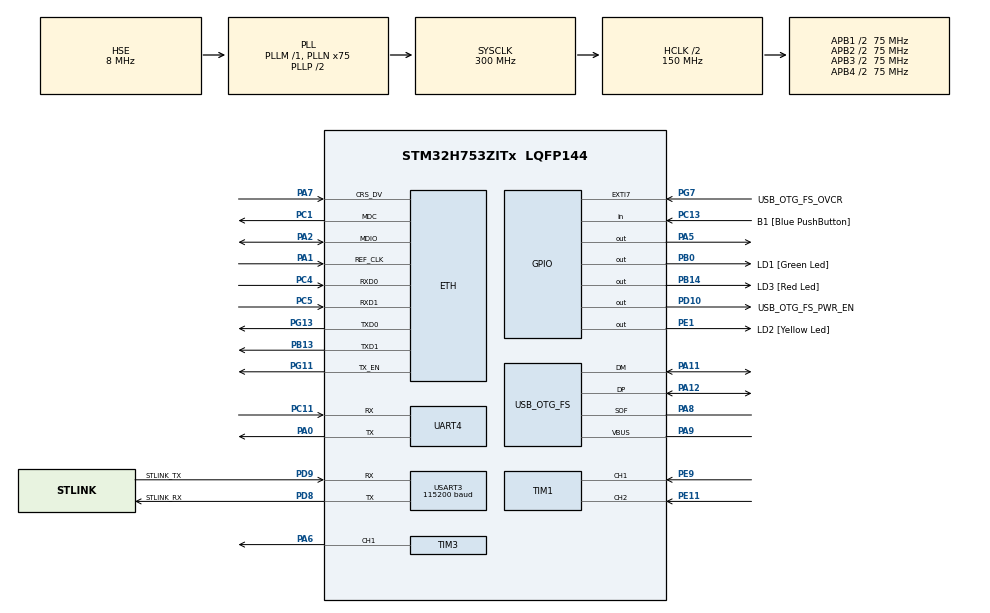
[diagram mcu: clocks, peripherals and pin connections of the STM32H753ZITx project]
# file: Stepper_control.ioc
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CORTEX_M7.CPU_DCache=Disabled
CORTEX_M7.CPU_ICache=Disabled
CORTEX_M7.MPU_Control=__NULL
ETH.ETH_RX_DESC_CNT=4
ETH.ETH_TX_DESC_CNT=4
ETH.MACAddr=00\:80\:E1\:00\:00\:00
ETH.MediaInterface=HAL_ETH_RMII_MODE
ETH.RxBuffAddress=0x30040200
ETH.RxBuffLen=1524
ETH.RxDescAddress=0x30040000
ETH.TxDescAddress=0x30040060
FREERTOS.Tasks01=defaultTask,24,128,StartDefaultTask,Default,NULL,Dynamic,NULL,NULL;motor_control,16,128,StartTask02,Default,NULL,Dynamic,NULL,NULL
FREERTOS.configUSE_NEWLIB_REENTRANT=1
Mcu.Family=STM32H7
Mcu.Name=STM32H753ZITx
Mcu.Package=LQFP144
NVIC.PriorityGroup=NVIC_PRIORITYGROUP_4
NVIC.TIM1_BRK_IRQn=true\:5\:0\:false\:false\:true\:true\:true\:true\:true
NVIC.TIM1_CC_IRQn=true\:5\:0\:false\:false\:true\:true\:true\:true\:true
NVIC.TIM1_TRG_COM_IRQn=true\:5\:0\:false\:false\:true\:true\:true\:true\:true
NVIC.TIM1_UP_IRQn=true\:5\:0\:false\:false\:true\:true\:true\:true\:true
NVIC.TIM2_IRQn=true\:15\:0\:false\:false\:true\:false\:false\:true\:true
NVIC.TimeBase=TIM2_IRQn
NVIC.TimeBaseIP=TIM2
PA0.Mode=Asynchronous
PA0.Signal=UART4_TX
PA1.Mode=RMII
PA1.Signal=ETH_REF_CLK
PA11.Mode=Device_Only
PA11.Signal=USB_OTG_FS_DM
PA12.Mode=Device_Only
PA12.Signal=USB_OTG_FS_DP
PA2.Mode=RMII
PA2.Signal=ETH_MDIO
PA5.Signal=GPIO_Output
PA6.Signal=S_TIM3_CH1
PA7.Mode=RMII
PA7.Signal=ETH_CRS_DV
PA8.Mode=Activate_SOF_FS
PA8.Signal=USB_OTG_FS_SOF
PA9.Mode=Activate_VBUS
PA9.Signal=USB_OTG_FS_VBUS
PB0.GPIO_Label=LD1 [Green Led]
PB0.Signal=GPIO_Output
PB13.Mode=RMII
PB13.Signal=ETH_TXD1
PB14.GPIO_Label=LD3 [Red Led]
PB14.Signal=GPIO_Output
PC1.Mode=RMII
PC1.Signal=ETH_MDC
PC11.Mode=Asynchronous
PC11.Signal=UART4_RX
PC13.GPIO_Label=B1 [Blue PushButton]
PC13.Signal=GPIO_Input
PC14-OSC32_IN\ (OSC32_IN).Signal=RCC_OSC32_IN
PC15-OSC32_OUT\ (OSC32_OUT).Signal=RCC_OSC32_OUT
PC4.Mode=RMII
PC4.Signal=ETH_RXD0
PC5.Mode=RMII
PC5.Signal=ETH_RXD1
PD10.GPIO_Label=USB_OTG_FS_PWR_EN
PD10.Signal=GPIO_Output
PD8.GPIO_Label=STLINK_RX
PD8.Mode=Asynchronous
PD8.Signal=USART3_TX
PD9.GPIO_Label=STLINK_TX
PD9.Mode=Asynchronous
PD9.Signal=USART3_RX
PE1.GPIO_Label=LD2 [Yellow Led]
PE1.Signal=GPIO_Output
PE11.GPIO_PuPd=GPIO_PULLUP
PE11.Signal=S_TIM1_CH2
PE9.GPIO_PuPd=GPIO_PULLUP
PE9.Signal=S_TIM1_CH1
PG11.Mode=RMII
PG11.Signal=ETH_TX_EN
PG13.Mode=RMII
PG13.Signal=ETH_TXD0
PG7.GPIO_Label=USB_OTG_FS_OVCR
PG7.Signal=GPXTI7
PH0-OSC_IN\ (PH0).Mode=HSE-External-Oscillator
PH0-OSC_IN\ (PH0).Signal=RCC_OSC_IN
PH1-OSC_OUT\ (PH1).Mode=HSE-External-Oscillator
PH1-OSC_OUT\ (PH1).Signal=RCC_OSC_OUT
ProjectManager.HeapSize=0x200
ProjectManager.StackSize=0x400
ProjectManager.TargetToolchain=STM32CubeIDE
RCC.ADCFreq_Value=16125000
RCC.APB1Freq_Value=75000000
RCC.APB2Freq_Value=75000000
RCC.APB3Freq_Value=75000000
RCC.APB4Freq_Value=75000000
RCC.CortexFreq_Value=300000000
RCC.D1PPRE=RCC_APB3_DIV2
RCC.D2PPRE1=RCC_APB1_DIV2
RCC.D2PPRE2=RCC_APB2_DIV2
RCC.D3PPRE=RCC_APB4_DIV2
RCC.DIVM1=1
RCC.DIVN1=75
RCC.DIVQ1=10
RCC.HCLKFreq_Value=150000000
RCC.HPRE=RCC_HCLK_DIV2
RCC.HSE_VALUE=8000000
RCC.PLL2FRACN=0
RCC.PLL3FRACN=0
RCC.PLLFRACN=0
RCC.SYSCLKFreq_VALUE=300000000
RCC.SYSCLKSource=RCC_SYSCLKSOURCE_PLLCLK
RCC.USBFreq_Value=60000000
SH.S_TIM1_CH1.0=TIM1_CH1,Encoder_Interface
SH.S_TIM1_CH2.0=TIM1_CH2,Encoder_Interface
SH.S_TIM3_CH1.0=TIM3_CH1,PWM Generation1 CH1
TIM1.AutoReloadPreload=TIM_AUTORELOAD_PRELOAD_ENABLE
TIM1.EncoderMode=TIM_ENCODERMODE_TI12
TIM1.IC1Filter=5
TIM1.IC1Prescaler=TIM_ICPSC_DIV1
TIM1.IC2Filter=5
TIM1.IC2Prescaler=TIM_ICPSC_DIV1
TIM3.AutoReloadPreload=TIM_AUTORELOAD_PRELOAD_ENABLE
TIM3.Channel-PWM\ Generation1\ CH1=TIM_CHANNEL_1
TIM3.ClockDivision=TIM_CLOCKDIVISION_DIV1
TIM3.Period=65535-1
TIM3.Prescaler=50-1
TIM3.Pulse-PWM\ Generation1\ CH1=20
USART3.AutoBaudRateEnableParam=UART_ADVFEATURE_AUTOBAUDRATE_DISABLE
USART3.BaudRate=115200
USART3.ClockPrescaler=PRESCALER_DIV1
USART3.DMADisableonRxErrorParam=ADVFEATURE_DMA_ENABLEONRXERROR
USART3.DataInvertParam=ADVFEATURE_DATAINV_DISABLE
USART3.FIFOMode=FIFOMODE_DISABLE
USART3.MSBFirstParam=ADVFEATURE_MSBFIRST_DISABLE
USART3.Mode=MODE_TX_RX
USART3.OneBitSampling=UART_ONE_BIT_SAMPLE_DISABLE
USART3.OverSampling=UART_OVERSAMPLING_16
USART3.OverrunDisableParam=ADVFEATURE_OVERRUN_ENABLE
USART3.Parity=PARITY_NONE
USART3.RXFIFOThreshold=RXFIFO_THRESHOLD_1EIGHTHFULL
USART3.RxPinLevelInvertParam=ADVFEATURE_RXINV_DISABLE
USART3.StopBits=STOPBITS_1
USART3.SwapParam=ADVFEATURE_SWAP_DISABLE
USART3.TXFIFOThreshold=TXFIFO_THRESHOLD_1EIGHTHFULL
USART3.TxPinLevelInvertParam=ADVFEATURE_TXINV_DISABLE
USART3.VirtualMode-Asynchronous=VM_ASYNC
USART3.WordLength=WORDLENGTH_8B
USB_OTG_FS.Sof_enable=ENABLE
USB_OTG_FS.VirtualMode=Device_Only
USB_OTG_FS.battery_charging_enable=ENABLE
USB_OTG_FS.low_power_enable=DISABLE
USB_OTG_FS.lpm_enable=DISABLE
USB_OTG_FS.use_dedicated_ep1=DISABLE
USB_OTG_FS.vbus_sensing_enable=ENABLE
VP_FREERTOS_VS_CMSIS_V2.Mode=CMSIS_V2
VP_MEMORYMAP_VS_MEMORYMAP.Mode=CurAppReg
VP_SYS_VS_tim2.Mode=TIM2
VP_TIM3_VS_ClockSourceINT.Mode=Internal
board=NUCLEO-H753ZI

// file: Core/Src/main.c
/* USER CODE BEGIN Header */
/**
 ******************************************************************************
 * @file           : main.c
 * @brief          : Main program body
 ******************************************************************************
 * @attention
 *
 * Copyright (c) 2024 STMicroelectronics.
 * All rights reserved.
 *
 * This software is licensed under terms that can be found in the LICENSE file
 * in the root directory of this software component.
 * If no LICENSE file comes with this software, it is provided AS-IS.
 *
 ******************************************************************************
 */
/* USER CODE END Header */
#include "main.h"
#include "string.h"
#include "cmsis_os.h"

/* USER CODE BEGIN Includes */
#include "motor_control.h"
#include "encoder_control.h"
/* USER CODE END Includes */

#if defined ( __ICCARM__ ) /*!< IAR Compiler */
#pragma location=0x30040000
ETH_DMADescTypeDef  DMARxDscrTab[ETH_RX_DESC_CNT]; /* Ethernet Rx DMA Descriptors */
#pragma location=0x30040060
ETH_DMADescTypeDef  DMATxDscrTab[ETH_TX_DESC_CNT]; /* Ethernet Tx DMA Descriptors */

#elif defined ( __CC_ARM )  /* MDK ARM Compiler */

__attribute__((at(0x30040000))) ETH_DMADescTypeDef  DMARxDscrTab[ETH_RX_DESC_CNT]; /* Ethernet Rx DMA Descriptors */
__attribute__((at(0x30040060))) ETH_DMADescTypeDef  DMATxDscrTab[ETH_TX_DESC_CNT]; /* Ethernet Tx DMA Descriptors */

#elif defined ( __GNUC__ ) /* GNU Compiler */

ETH_DMADescTypeDef DMARxDscrTab[ETH_RX_DESC_CNT] __attribute__((section(".RxDescripSection"))); /* Ethernet Rx DMA Descriptors */
ETH_DMADescTypeDef DMATxDscrTab[ETH_TX_DESC_CNT] __attribute__((section(".TxDescripSection")));   /* Ethernet Tx DMA Descriptors */
#endif

ETH_TxPacketConfig TxConfig;

ETH_HandleTypeDef heth;

TIM_HandleTypeDef htim1;
TIM_HandleTypeDef htim3;

UART_HandleTypeDef huart4;
UART_HandleTypeDef huart3;

PCD_HandleTypeDef hpcd_USB_OTG_FS;

/* Definitions for defaultTask */
osThreadId_t defaultTaskHandle;
const osThreadAttr_t defaultTask_attributes = {
  .name = "defaultTask",
  .stack_size = 128 * 4,
  .priority = (osPriority_t) osPriorityNormal,
};
/* Definitions for motor_control */
osThreadId_t motor_controlHandle;
const osThreadAttr_t motor_control_attributes = {
  .name = "motor_control",
  .stack_size = 128 * 4,
  .priority = (osPriority_t) osPriorityBelowNormal,
};

void SystemClock_Config(void);
static void MX_GPIO_Init(void);
static void MX_ETH_Init(void);
static void MX_USART3_UART_Init(void);
static void MX_USB_OTG_FS_PCD_Init(void);
static void MX_TIM3_Init(void);
static void MX_TIM1_Init(void);
static void MX_UART4_Init(void);
void StartDefaultTask(void *argument);
void StartTask02(void *argument);

/* USER CODE BEGIN 0 */
encoder_instance enc_instance;
int32_t encoder_velocity = 0;
int32_t encoder_position = 0;
int32_t timer_counter = 0;
float rpm = 0;
//Pentru frecventa am setat limite normale in functionearea fara microstepping
//Daca se foloseste microstepping se atinge si o frecventa mai mare de 1400 Hz doar ca frecventele vor trebui modificate !

/* USER CODE END 0 */

int main(void)
{

  /* MCU Configuration--------------------------------------------------------*/

  /* Reset of all peripherals, Initializes the Flash interface and the Systick. */
  HAL_Init();

  /* Configure the system clock */
  SystemClock_Config();

  /* Initialize all configured peripherals */
  MX_GPIO_Init();
  MX_ETH_Init();
  MX_USART3_UART_Init();
  MX_USB_OTG_FS_PCD_Init();
  MX_TIM3_Init();
  MX_TIM1_Init();
  MX_UART4_Init();
  /* USER CODE BEGIN 2 */
  //HAL_TIM_PWM_Start(&htim3, TIM_CHANNEL_1);
  HAL_TIM_Encoder_Start(&htim1, TIM_CHANNEL_ALL);

  /* USER CODE END 2 */

  /* Init scheduler */
  osKernelInitialize();

  /* Create the thread(s) */
  /* creation of defaultTask */
  defaultTaskHandle = osThreadNew(StartDefaultTask, NULL, &defaultTask_attributes);

  /* creation of motor_control */
  motor_controlHandle = osThreadNew(StartTask02, NULL, &motor_control_attributes);

  /* Start scheduler */
  osKernelStart();

  /* We should never get here as control is now taken by the scheduler */

  /* Infinite loop */
	while (1) {

	}
}

void SystemClock_Config(void)
{
  RCC_OscInitTypeDef RCC_OscInitStruct = {0};
  RCC_ClkInitTypeDef RCC_ClkInitStruct = {0};

  /** Supply configuration update enable
  */
  HAL_PWREx_ConfigSupply(PWR_LDO_SUPPLY);

  /** Configure the main internal regulator output voltage
  */
  __HAL_PWR_VOLTAGESCALING_CONFIG(PWR_REGULATOR_VOLTAGE_SCALE2);

  while(!__HAL_PWR_GET_FLAG(PWR_FLAG_VOSRDY)) {}

  /** Initializes the RCC Oscillators according to the specified parameters
  * in the RCC_OscInitTypeDef structure.
  */
  RCC_OscInitStruct.OscillatorType = RCC_OSCILLATORTYPE_HSE;
  RCC_OscInitStruct.HSEState = RCC_HSE_ON;
  RCC_OscInitStruct.PLL.PLLState = RCC_PLL_ON;
  RCC_OscInitStruct.PLL.PLLSource = RCC_PLLSOURCE_HSE;
  RCC_OscInitStruct.PLL.PLLM = 1;
  RCC_OscInitStruct.PLL.PLLN = 75;
  RCC_OscInitStruct.PLL.PLLP = 2;
  RCC_OscInitStruct.PLL.PLLQ = 10;
  RCC_OscInitStruct.PLL.PLLR = 2;
  RCC_OscInitStruct.PLL.PLLRGE = RCC_PLL1VCIRANGE_3;
  RCC_OscInitStruct.PLL.PLLVCOSEL = RCC_PLL1VCOWIDE;
  RCC_OscInitStruct.PLL.PLLFRACN = 0;
  if (HAL_RCC_OscConfig(&RCC_OscInitStruct) != HAL_OK)
  {
    Error_Handler();
  }

  /** Initializes the CPU, AHB and APB buses clocks
  */
  RCC_ClkInitStruct.ClockType = RCC_CLOCKTYPE_HCLK|RCC_CLOCKTYPE_SYSCLK
                              |RCC_CLOCKTYPE_PCLK1|RCC_CLOCKTYPE_PCLK2
                              |RCC_CLOCKTYPE_D3PCLK1|RCC_CLOCKTYPE_D1PCLK1;
  RCC_ClkInitStruct.SYSCLKSource = RCC_SYSCLKSOURCE_PLLCLK;
  RCC_ClkInitStruct.SYSCLKDivider = RCC_SYSCLK_DIV1;
  RCC_ClkInitStruct.AHBCLKDivider = RCC_HCLK_DIV2;
  RCC_ClkInitStruct.APB3CLKDivider = RCC_APB3_DIV2;
  RCC_ClkInitStruct.APB1CLKDivider = RCC_APB1_DIV2;
  RCC_ClkInitStruct.APB2CLKDivider = RCC_APB2_DIV2;
  RCC_ClkInitStruct.APB4CLKDivider = RCC_APB4_DIV2;

  if (HAL_RCC_ClockConfig(&RCC_ClkInitStruct, FLASH_LATENCY_2) != HAL_OK)
  {
    Error_Handler();
  }
}

static void MX_ETH_Init(void)
{

   static uint8_t MACAddr[6];

  heth.Instance = ETH;
  MACAddr[0] = 0x00;
  MACAddr[1] = 0x80;
  MACAddr[2] = 0xE1;
  MACAddr[3] = 0x00;
  MACAddr[4] = 0x00;
  MACAddr[5] = 0x00;
  heth.Init.MACAddr = &MACAddr[0];
  heth.Init.MediaInterface = HAL_ETH_RMII_MODE;
  heth.Init.TxDesc = DMATxDscrTab;
  heth.Init.RxDesc = DMARxDscrTab;
  heth.Init.RxBuffLen = 1524;

  if (HAL_ETH_Init(&heth) != HAL_OK)
  {
    Error_Handler();
  }

  memset(&TxConfig, 0 , sizeof(ETH_TxPacketConfig));
  TxConfig.Attributes = ETH_TX_PACKETS_FEATURES_CSUM | ETH_TX_PACKETS_FEATURES_CRCPAD;
  TxConfig.ChecksumCtrl = ETH_CHECKSUM_IPHDR_PAYLOAD_INSERT_PHDR_CALC;
  TxConfig.CRCPadCtrl = ETH_CRC_PAD_INSERT;

}

static void MX_TIM1_Init(void)
{

  TIM_Encoder_InitTypeDef sConfig = {0};
  TIM_MasterConfigTypeDef sMasterConfig = {0};

  htim1.Instance = TIM1;
  htim1.Init.Prescaler = 0;
  htim1.Init.CounterMode = TIM_COUNTERMODE_UP;
  htim1.Init.Period = 65535;
  htim1.Init.ClockDivision = TIM_CLOCKDIVISION_DIV1;
  htim1.Init.RepetitionCounter = 0;
  htim1.Init.AutoReloadPreload = TIM_AUTORELOAD_PRELOAD_ENABLE;
  sConfig.EncoderMode = TIM_ENCODERMODE_TI12;
  sConfig.IC1Polarity = TIM_ICPOLARITY_RISING;
  sConfig.IC1Selection = TIM_ICSELECTION_DIRECTTI;
  sConfig.IC1Prescaler = TIM_ICPSC_DIV1;
  sConfig.IC1Filter = 5;
  sConfig.IC2Polarity = TIM_ICPOLARITY_RISING;
  sConfig.IC2Selection = TIM_ICSELECTION_DIRECTTI;
  sConfig.IC2Prescaler = TIM_ICPSC_DIV1;
  sConfig.IC2Filter = 5;
  if (HAL_TIM_Encoder_Init(&htim1, &sConfig) != HAL_OK)
  {
    Error_Handler();
  }
  sMasterConfig.MasterOutputTrigger = TIM_TRGO_RESET;
  sMasterConfig.MasterOutputTrigger2 = TIM_TRGO2_RESET;
  sMasterConfig.MasterSlaveMode = TIM_MASTERSLAVEMODE_DISABLE;
  if (HAL_TIMEx_MasterConfigSynchronization(&htim1, &sMasterConfig) != HAL_OK)
  {
    Error_Handler();
  }

}

static void MX_TIM3_Init(void)
{

  TIM_ClockConfigTypeDef sClockSourceConfig = {0};
  TIM_MasterConfigTypeDef sMasterConfig = {0};
  TIM_OC_InitTypeDef sConfigOC = {0};

  htim3.Instance = TIM3;
  htim3.Init.Prescaler = 50-1;
  htim3.Init.CounterMode = TIM_COUNTERMODE_UP;
  htim3.Init.Period = 65535-1;
  htim3.Init.ClockDivision = TIM_CLOCKDIVISION_DIV1;
  htim3.Init.AutoReloadPreload = TIM_AUTORELOAD_PRELOAD_ENABLE;
  if (HAL_TIM_Base_Init(&htim3) != HAL_OK)
  {
    Error_Handler();
  }
  sClockSourceConfig.ClockSource = TIM_CLOCKSOURCE_INTERNAL;
  if (HAL_TIM_ConfigClockSource(&htim3, &sClockSourceConfig) != HAL_OK)
  {
    Error_Handler();
  }
  if (HAL_TIM_PWM_Init(&htim3) != HAL_OK)
  {
    Error_Handler();
  }
  sMasterConfig.MasterOutputTrigger = TIM_TRGO_RESET;
  sMasterConfig.MasterSlaveMode = TIM_MASTERSLAVEMODE_DISABLE;
  if (HAL_TIMEx_MasterConfigSynchronization(&htim3, &sMasterConfig) != HAL_OK)
  {
    Error_Handler();
  }
  sConfigOC.OCMode = TIM_OCMODE_PWM1;
  sConfigOC.Pulse = 20;
  sConfigOC.OCPolarity = TIM_OCPOLARITY_HIGH;
  sConfigOC.OCFastMode = TIM_OCFAST_DISABLE;
  if (HAL_TIM_PWM_ConfigChannel(&htim3, &sConfigOC, TIM_CHANNEL_1) != HAL_OK)
  {
    Error_Handler();
  }
  HAL_TIM_MspPostInit(&htim3);

}

static void MX_UART4_Init(void)
{

  huart4.Instance = UART4;
  huart4.Init.BaudRate = 115200;
  huart4.Init.WordLength = UART_WORDLENGTH_8B;
  huart4.Init.StopBits = UART_STOPBITS_1;
  huart4.Init.Parity = UART_PARITY_NONE;
  huart4.Init.Mode = UART_MODE_TX_RX;
  huart4.Init.HwFlowCtl = UART_HWCONTROL_NONE;
  huart4.Init.OverSampling = UART_OVERSAMPLING_16;
  huart4.Init.OneBitSampling = UART_ONE_BIT_SAMPLE_DISABLE;
  huart4.Init.ClockPrescaler = UART_PRESCALER_DIV1;
  huart4.AdvancedInit.AdvFeatureInit = UART_ADVFEATURE_NO_INIT;
  if (HAL_UART_Init(&huart4) != HAL_OK)
  {
    Error_Handler();
  }
  if (HAL_UARTEx_SetTxFifoThreshold(&huart4, UART_TXFIFO_THRESHOLD_1_8) != HAL_OK)
  {
    Error_Handler();
  }
  if (HAL_UARTEx_SetRxFifoThreshold(&huart4, UART_RXFIFO_THRESHOLD_1_8) != HAL_OK)
  {
    Error_Handler();
  }
  if (HAL_UARTEx_DisableFifoMode(&huart4) != HAL_OK)
  {
    Error_Handler();
  }

}

static void MX_USART3_UART_Init(void)
{

  huart3.Instance = USART3;
  huart3.Init.BaudRate = 115200;
  huart3.Init.WordLength = UART_WORDLENGTH_8B;
  huart3.Init.StopBits = UART_STOPBITS_1;
  huart3.Init.Parity = UART_PARITY_NONE;
  huart3.Init.Mode = UART_MODE_TX_RX;
  huart3.Init.HwFlowCtl = UART_HWCONTROL_NONE;
  huart3.Init.OverSampling = UART_OVERSAMPLING_16;
  huart3.Init.OneBitSampling = UART_ONE_BIT_SAMPLE_DISABLE;
  huart3.Init.ClockPrescaler = UART_PRESCALER_DIV1;
  huart3.AdvancedInit.AdvFeatureInit = UART_ADVFEATURE_NO_INIT;
  if (HAL_UART_Init(&huart3) != HAL_OK)
  {
    Error_Handler();
  }
  if (HAL_UARTEx_SetTxFifoThreshold(&huart3, UART_TXFIFO_THRESHOLD_1_8) != HAL_OK)
  {
    Error_Handler();
  }
  if (HAL_UARTEx_SetRxFifoThreshold(&huart3, UART_RXFIFO_THRESHOLD_1_8) != HAL_OK)
  {
    Error_Handler();
  }
  if (HAL_UARTEx_DisableFifoMode(&huart3) != HAL_OK)
  {
    Error_Handler();
  }

}

static void MX_USB_OTG_FS_PCD_Init(void)
{

  hpcd_USB_OTG_FS.Instance = USB_OTG_FS;
  hpcd_USB_OTG_FS.Init.dev_endpoints = 9;
  hpcd_USB_OTG_FS.Init.speed = PCD_SPEED_FULL;
  hpcd_USB_OTG_FS.Init.dma_enable = DISABLE;
  hpcd_USB_OTG_FS.Init.phy_itface = PCD_PHY_EMBEDDED;
  hpcd_USB_OTG_FS.Init.Sof_enable = ENABLE;
  hpcd_USB_OTG_FS.Init.low_power_enable = DISABLE;
  hpcd_USB_OTG_FS.Init.lpm_enable = DISABLE;
  hpcd_USB_OTG_FS.Init.battery_charging_enable = ENABLE;
  hpcd_USB_OTG_FS.Init.vbus_sensing_enable = ENABLE;
  hpcd_USB_OTG_FS.Init.use_dedicated_ep1 = DISABLE;
  if (HAL_PCD_Init(&hpcd_USB_OTG_FS) != HAL_OK)
  {
    Error_Handler();
  }

}

static void MX_GPIO_Init(void)
{
  GPIO_InitTypeDef GPIO_InitStruct = {0};

  /* GPIO Ports Clock Enable */
  __HAL_RCC_GPIOC_CLK_ENABLE();
  __HAL_RCC_GPIOH_CLK_ENABLE();
  __HAL_RCC_GPIOA_CLK_ENABLE();
  __HAL_RCC_GPIOB_CLK_ENABLE();
  __HAL_RCC_GPIOE_CLK_ENABLE();
  __HAL_RCC_GPIOD_CLK_ENABLE();
  __HAL_RCC_GPIOG_CLK_ENABLE();

  /*Configure GPIO pin Output Level */
  HAL_GPIO_WritePin(GPIOA, GPIO_PIN_5, GPIO_PIN_RESET);

  /*Configure GPIO pin Output Level */
  HAL_GPIO_WritePin(GPIOB, LD1_Pin|LD3_Pin, GPIO_PIN_RESET);

  /*Configure GPIO pin Output Level */
  HAL_GPIO_WritePin(USB_OTG_FS_PWR_EN_GPIO_Port, USB_OTG_FS_PWR_EN_Pin, GPIO_PIN_RESET);

  /*Configure GPIO pin Output Level */
  HAL_GPIO_WritePin(LD2_GPIO_Port, LD2_Pin, GPIO_PIN_RESET);

  /*Configure GPIO pin : B1_Pin */
  GPIO_InitStruct.Pin = B1_Pin;
  GPIO_InitStruct.Mode = GPIO_MODE_INPUT;
  GPIO_InitStruct.Pull = GPIO_NOPULL;
  HAL_GPIO_Init(B1_GPIO_Port, &GPIO_InitStruct);

  /*Configure GPIO pin : PA5 */
  GPIO_InitStruct.Pin = GPIO_PIN_5;
  GPIO_InitStruct.Mode = GPIO_MODE_OUTPUT_PP;
  GPIO_InitStruct.Pull = GPIO_NOPULL;
  GPIO_InitStruct.Speed = GPIO_SPEED_FREQ_LOW;
  HAL_GPIO_Init(GPIOA, &GPIO_InitStruct);

  /*Configure GPIO pins : LD1_Pin LD3_Pin */
  GPIO_InitStruct.Pin = LD1_Pin|LD3_Pin;
  GPIO_InitStruct.Mode = GPIO_MODE_OUTPUT_PP;
  GPIO_InitStruct.Pull = GPIO_NOPULL;
  GPIO_InitStruct.Speed = GPIO_SPEED_FREQ_LOW;
  HAL_GPIO_Init(GPIOB, &GPIO_InitStruct);

  /*Configure GPIO pin : USB_OTG_FS_PWR_EN_Pin */
  GPIO_InitStruct.Pin = USB_OTG_FS_PWR_EN_Pin;
  GPIO_InitStruct.Mode = GPIO_MODE_OUTPUT_PP;
  GPIO_InitStruct.Pull = GPIO_NOPULL;
  GPIO_InitStruct.Speed = GPIO_SPEED_FREQ_LOW;
  HAL_GPIO_Init(USB_OTG_FS_PWR_EN_GPIO_Port, &GPIO_InitStruct);

  /*Configure GPIO pin : USB_OTG_FS_OVCR_Pin */
  GPIO_InitStruct.Pin = USB_OTG_FS_OVCR_Pin;
  GPIO_InitStruct.Mode = GPIO_MODE_IT_RISING;
  GPIO_InitStruct.Pull = GPIO_NOPULL;
  HAL_GPIO_Init(USB_OTG_FS_OVCR_GPIO_Port, &GPIO_InitStruct);

  /*Configure GPIO pin : LD2_Pin */
  GPIO_InitStruct.Pin = LD2_Pin;
  GPIO_InitStruct.Mode = GPIO_MODE_OUTPUT_PP;
  GPIO_InitStruct.Pull = GPIO_NOPULL;
  GPIO_InitStruct.Speed = GPIO_SPEED_FREQ_LOW;
  HAL_GPIO_Init(LD2_GPIO_Port, &GPIO_InitStruct);

}

void StartDefaultTask(void *argument)
{
  /* USER CODE BEGIN 5 */
  //uint32_t last_transmit_time = 0; // Timpul ultimei transmisii

  /* Infinite loop */
  for(;;)
  {
    timer_counter = __HAL_TIM_GET_COUNTER(&htim1);
    update_encoder(&enc_instance, &htim1);
    encoder_position = enc_instance.position;
    encoder_velocity = enc_instance.velocity;
    rpm = enc_instance.rpm;

    uint32_t current_time = HAL_GetTick();

    // Transmite date doar dacă au trecut 100 ms
    //if (current_time - last_transmit_time >= 6) {
      //last_transmit_time = current_time;

      char buffer[64];
      int int_part = (int)rpm; // Partea întreagă a RPM

      // Trimite doar partea întreagă a RPM
      sprintf(buffer, "Time: %lu ms, RPM: %d\r\n", current_time, int_part);
      HAL_UART_Transmit(&huart3, (uint8_t *)buffer, strlen(buffer), 10);
    //}

    osDelay(1); // Poți păstra un delay scurt pentru a permite și alte sarcini
  }

  /* USER CODE END 5 */
}

void StartTask02(void *argument)
{
  /* USER CODE BEGIN StartTask02 */
  /* Infinite loop */
  for(;;)
  {
	  set_direction(DIRECTION_LEFT);
	  //max 700
	  accelerate_to_RPM(350);
	  osDelay(3000);

	  decelerate_to_RPM(0);
	  osDelay(3000);

	  //decelerate_to_RPM(100);
	  //osDelay(3000);

	  //decelerate_to_RPM(50);
	 //	  osDelay(3000);

	  //set_direction(DIRECTION_RIGHT);
	  //accelerate_RPM(160);
	  //osDelay(3000);

	  //decelerate_to_RPM(0);
	  //osDelay(3000);
  }
  /* USER CODE END StartTask02 */
}

void HAL_TIM_PeriodElapsedCallback(TIM_HandleTypeDef *htim)
{
  if (htim->Instance == TIM2) {
    HAL_IncTick();
  }
}

void Error_Handler(void)
{
	__disable_irq();
	while (1) {
	}
}
